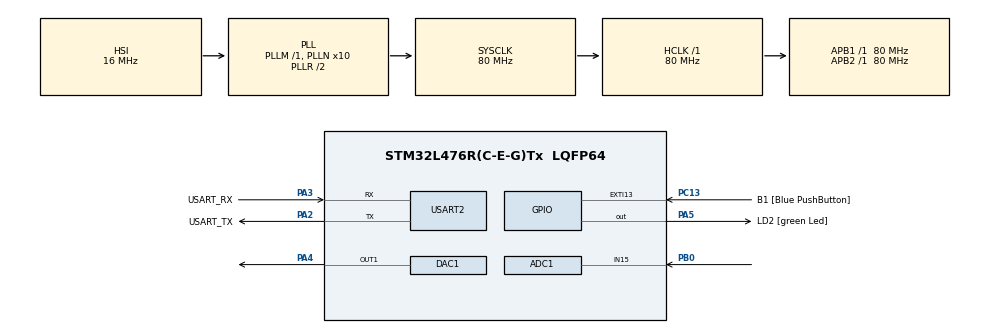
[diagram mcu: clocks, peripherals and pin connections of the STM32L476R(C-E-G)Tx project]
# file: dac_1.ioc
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ADC1.Channel-0\#ChannelRegularConversion=ADC_CHANNEL_15
ADC1.NbrOfConversionFlag=1
ADC1.OffsetNumber-0\#ChannelRegularConversion=ADC_OFFSET_NONE
ADC1.Rank-0\#ChannelRegularConversion=1
ADC1.SamplingTime-0\#ChannelRegularConversion=ADC_SAMPLETIME_92CYCLES_5
ADC1.master=1
Mcu.Family=STM32L4
Mcu.Name=STM32L476R(C-E-G)Tx
Mcu.Package=LQFP64
NVIC.ADC1_2_IRQn=true\:0\:0\:false\:false\:true\:true\:true
NVIC.PriorityGroup=NVIC_PRIORITYGROUP_4
PA13\ (JTMS-SWDIO).GPIO_Label=TMS
PA13\ (JTMS-SWDIO).Mode=Serial_Wire
PA13\ (JTMS-SWDIO).Signal=SYS_JTMS-SWDIO
PA14\ (JTCK-SWCLK).GPIO_Label=TCK
PA14\ (JTCK-SWCLK).Mode=Serial_Wire
PA14\ (JTCK-SWCLK).Signal=SYS_JTCK-SWCLK
PA2.GPIO_Label=USART_TX
PA2.GPIO_Mode=GPIO_MODE_AF_PP
PA2.GPIO_PuPd=GPIO_NOPULL
PA2.GPIO_Speed=GPIO_SPEED_FREQ_VERY_HIGH
PA2.Mode=Asynchronous
PA2.Signal=USART2_TX
PA3.GPIO_Label=USART_RX
PA3.GPIO_Mode=GPIO_MODE_AF_PP
PA3.GPIO_PuPd=GPIO_NOPULL
PA3.GPIO_Speed=GPIO_SPEED_FREQ_VERY_HIGH
PA3.Mode=Asynchronous
PA3.Signal=USART2_RX
PA4.Signal=COMP_DAC11_group
PA5.GPIO_Label=LD2 [green Led]
PA5.GPIO_ModeDefaultOutputPP=GPIO_MODE_OUTPUT_PP
PA5.GPIO_PuPd=GPIO_NOPULL
PA5.GPIO_Speed=GPIO_SPEED_FREQ_LOW
PA5.Signal=GPIO_Output
PB0.Signal=ADCx_IN15
PB3\ (JTDO-TRACESWO).GPIO_Label=SWO
PB3\ (JTDO-TRACESWO).Signal=SYS_JTDO-SWO
PC13.GPIO_Label=B1 [Blue PushButton]
PC13.GPIO_ModeDefaultEXTI=GPIO_MODE_IT_FALLING
PC13.GPIO_PuPd=GPIO_NOPULL
PC13.Signal=GPXTI13
PC14-OSC32_IN\ (PC14).Mode=LSE-External-Oscillator
PC14-OSC32_IN\ (PC14).Signal=RCC_OSC32_IN
PC15-OSC32_OUT\ (PC15).Mode=LSE-External-Oscillator
PC15-OSC32_OUT\ (PC15).Signal=RCC_OSC32_OUT
PH0-OSC_IN\ (PH0).Signal=RCC_OSC_IN
PH1-OSC_OUT\ (PH1).Signal=RCC_OSC_OUT
ProjectManager.HeapSize=0x200
ProjectManager.StackSize=0x400
ProjectManager.TargetToolchain=STM32CubeIDE
RCC.ADCFreq_Value=64000000
RCC.AHBFreq_Value=80000000
RCC.APB1Freq_Value=80000000
RCC.APB1TimFreq_Value=80000000
RCC.APB2Freq_Value=80000000
RCC.APB2TimFreq_Value=80000000
RCC.CortexFreq_Value=80000000
RCC.HCLKFreq_Value=80000000
RCC.HSE_VALUE=8000000
RCC.HSI_VALUE=16000000
RCC.MSI_VALUE=4000000
RCC.PLLN=10
RCC.PLLSourceVirtual=RCC_PLLSOURCE_HSI
RCC.PREFETCH_ENABLE=1
RCC.SYSCLKFreq_VALUE=80000000
RCC.SYSCLKSource=RCC_SYSCLKSOURCE_PLLCLK
RCC.USBFreq_Value=64000000
RCC.VCOOutputFreq_Value=160000000
SH.ADCx_IN15.0=ADC1_IN15,IN15-Single-Ended
SH.COMP_DAC11_group.0=DAC1_OUT1,DAC_OUT1
USART2.VirtualMode-Asynchronous=VM_ASYNC
board=NUCLEO-L476RG

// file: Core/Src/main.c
/* USER CODE BEGIN Header */
/**
  ******************************************************************************
  * @file           : main.c
  * @brief          : Main program body
  ******************************************************************************
  * @attention
  *
  * <h2><center>&copy; Copyright (c) 2022 STMicroelectronics.
  * All rights reserved.</center></h2>
  *
  * This software component is licensed by ST under BSD 3-Clause license,
  * the "License"; You may not use this file except in compliance with the
  * License. You may obtain a copy of the License at:
  *                        opensource.org/licenses/BSD-3-Clause
  *
  ******************************************************************************
  */
/* USER CODE END Header */
#include "main.h"
#include "adc.h"
#include "dac.h"
#include "usart.h"
#include "gpio.h"

/* USER CODE BEGIN Includes */
#include "stdio.h"
/* USER CODE END Includes */

/* USER CODE BEGIN PD */
int _write(int file, char *ptr, int len);
/* USER CODE END PD */

/* USER CODE BEGIN PV */
volatile uint16_t adc_value;
volatile uint16_t dac_value;
volatile uint8_t adc_flag;

/* USER CODE END PV */

void SystemClock_Config(void);

/* USER CODE BEGIN 0 */
void HAL_ADC_ConvCpltCallback(ADC_HandleTypeDef *hadc) {
	if(hadc == &hadc1) {
		adc_value = HAL_ADC_GetValue(hadc);
		adc_flag = 1;
	}
}

/* USER CODE END 0 */

int main(void)
{

  /* MCU Configuration--------------------------------------------------------*/

  /* Reset of all peripherals, Initializes the Flash interface and the Systick. */
  HAL_Init();

  /* Configure the system clock */
  SystemClock_Config();

  /* Initialize all configured peripherals */
  MX_GPIO_Init();
  MX_USART2_UART_Init();
  MX_ADC1_Init();
  MX_DAC1_Init();
  /* USER CODE BEGIN 2 */

  HAL_DAC_Start(&hdac1, DAC_CHANNEL_1);
  HAL_DAC_SetValue(&hdac1, DAC_CHANNEL_1, DAC_ALIGN_8B_R, 0);
  HAL_ADC_Start_IT(&hadc1);

  /* USER CODE END 2 */

  /* Infinite loop */
  /* USER CODE BEGIN WHILE */
  while (1)
  {
	  if(adc_flag == 1){
		  printf("Zadana wartosc to %d\r\n", dac_value);
		  printf("Zmierzona wartosc to %d\r\n", adc_value);
		  adc_flag = 0;

		  dac_value += 50;
		  dac_value %= 300;
		  HAL_DAC_SetValue(&hdac1, DAC_CHANNEL_1, DAC_ALIGN_8B_R, dac_value);

		  HAL_ADC_Start_IT(&hadc1);
	  }
	  HAL_Delay(1000);
    /* USER CODE END WHILE */

  }
}

void SystemClock_Config(void)
{
  RCC_OscInitTypeDef RCC_OscInitStruct = {0};
  RCC_ClkInitTypeDef RCC_ClkInitStruct = {0};
  RCC_PeriphCLKInitTypeDef PeriphClkInit = {0};

  /** Initializes the RCC Oscillators according to the specified parameters
  * in the RCC_OscInitTypeDef structure.
  */
  RCC_OscInitStruct.OscillatorType = RCC_OSCILLATORTYPE_HSI;
  RCC_OscInitStruct.HSIState = RCC_HSI_ON;
  RCC_OscInitStruct.HSICalibrationValue = RCC_HSICALIBRATION_DEFAULT;
  RCC_OscInitStruct.PLL.PLLState = RCC_PLL_ON;
  RCC_OscInitStruct.PLL.PLLSource = RCC_PLLSOURCE_HSI;
  RCC_OscInitStruct.PLL.PLLM = 1;
  RCC_OscInitStruct.PLL.PLLN = 10;
  RCC_OscInitStruct.PLL.PLLP = RCC_PLLP_DIV7;
  RCC_OscInitStruct.PLL.PLLQ = RCC_PLLQ_DIV2;
  RCC_OscInitStruct.PLL.PLLR = RCC_PLLR_DIV2;
  if (HAL_RCC_OscConfig(&RCC_OscInitStruct) != HAL_OK)
  {
    Error_Handler();
  }
  /** Initializes the CPU, AHB and APB buses clocks
  */
  RCC_ClkInitStruct.ClockType = RCC_CLOCKTYPE_HCLK|RCC_CLOCKTYPE_SYSCLK
                              |RCC_CLOCKTYPE_PCLK1|RCC_CLOCKTYPE_PCLK2;
  RCC_ClkInitStruct.SYSCLKSource = RCC_SYSCLKSOURCE_PLLCLK;
  RCC_ClkInitStruct.AHBCLKDivider = RCC_SYSCLK_DIV1;
  RCC_ClkInitStruct.APB1CLKDivider = RCC_HCLK_DIV1;
  RCC_ClkInitStruct.APB2CLKDivider = RCC_HCLK_DIV1;

  if (HAL_RCC_ClockConfig(&RCC_ClkInitStruct, FLASH_LATENCY_4) != HAL_OK)
  {
    Error_Handler();
  }
  PeriphClkInit.PeriphClockSelection = RCC_PERIPHCLK_USART2|RCC_PERIPHCLK_ADC;
  PeriphClkInit.Usart2ClockSelection = RCC_USART2CLKSOURCE_PCLK1;
  PeriphClkInit.AdcClockSelection = RCC_ADCCLKSOURCE_PLLSAI1;
  PeriphClkInit.PLLSAI1.PLLSAI1Source = RCC_PLLSOURCE_HSI;
  PeriphClkInit.PLLSAI1.PLLSAI1M = 1;
  PeriphClkInit.PLLSAI1.PLLSAI1N = 8;
  PeriphClkInit.PLLSAI1.PLLSAI1P = RCC_PLLP_DIV7;
  PeriphClkInit.PLLSAI1.PLLSAI1Q = RCC_PLLQ_DIV2;
  PeriphClkInit.PLLSAI1.PLLSAI1R = RCC_PLLR_DIV2;
  PeriphClkInit.PLLSAI1.PLLSAI1ClockOut = RCC_PLLSAI1_ADC1CLK;
  if (HAL_RCCEx_PeriphCLKConfig(&PeriphClkInit) != HAL_OK)
  {
    Error_Handler();
  }
  /** Configure the main internal regulator output voltage
  */
  if (HAL_PWREx_ControlVoltageScaling(PWR_REGULATOR_VOLTAGE_SCALE1) != HAL_OK)
  {
    Error_Handler();
  }
}

/* USER CODE BEGIN 4 */
int _write(int file, char *ptr, int len){

	  if(HAL_UART_Transmit(&huart2, (uint8_t *) ptr, len, 100) != HAL_OK){
		  Error_Handler();
	  }

	return len;
}

/* USER CODE END 4 */

void Error_Handler(void)
{
}

/************************ (C) COPYRIGHT STMicroelectronics *****END OF FILE****/
